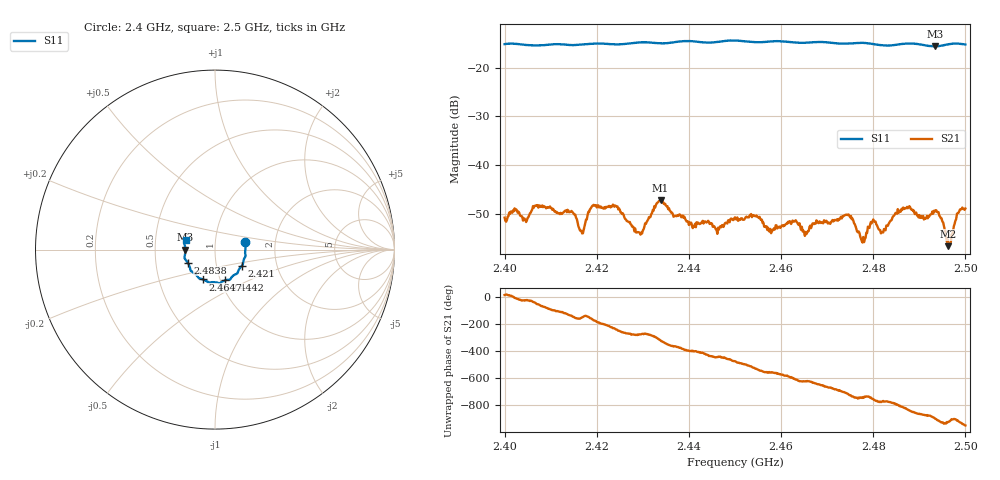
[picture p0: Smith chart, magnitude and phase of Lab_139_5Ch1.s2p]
# Hz S RI R 50
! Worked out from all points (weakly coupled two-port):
!   601 points, 2.4 GHz to 2.5 GHz, reference 50 ohm
!   highest |S21| = -47.14 dB at 2.4338 GHz (marker M1); lowest = -56.5 dB at 2.4963 GHz (marker M2)
!   lowest |S11| = -15.7 dB at 2.4933 GHz (marker M3), VSWR 1.39, Z = 35.9 + j0.0196 ohm
!   |S11| at or under -10 dB: start of sweep to end of sweep
!   S12 and S22 are empty: the file has one direction only
!   S11 on the Smith chart (normalised r, x): 2.4 GHz: 1.40, +0.12; 2.421 GHz: 1.33, -0.24; 2.4442 GHz: 1.05, -0.37; 2.4647 GHz: 0.83, -0.28; 2.4838 GHz: 0.73, -0.11; 2.5 GHz: 0.71, +0.08
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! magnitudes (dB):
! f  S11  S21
! 2.4 GHz  -15.2  -50.7
! 2.408 GHz  -15.5  -48.4
! 2.4148 GHz  -15.4  -49.7
! 2.4167 GHz  -15.3  -53.4
! 2.419 GHz  -15.1  -48.3
! 2.421 GHz  -15.1  -48.7
! 2.424 GHz  -15.3  -48.2
! 2.4293 GHz  -14.9  -53.8
! 2.4333 GHz  -15.0  -47.5
! 2.4338 GHz  -15.0  -47.1
! 2.4442 GHz  -14.9  -51.3
! 2.45 GHz  -14.5  -50.6
! 2.4647 GHz  -14.9  -53.5
! 2.4667 GHz  -14.8  -52.4
! 2.4743 GHz  -15.1  -50.1
! 2.4778 GHz  -15.0  -54.6
! 2.4798 GHz  -15.2  -51.5
! 2.4833 GHz  -15.5  -52.0
! 2.4838 GHz  -15.5  -51.3
! 2.4933 GHz  -15.7  -49.5
! 2.4963 GHz  -15.2  -56.5
! 2.5 GHz  -15.3  -48.8
